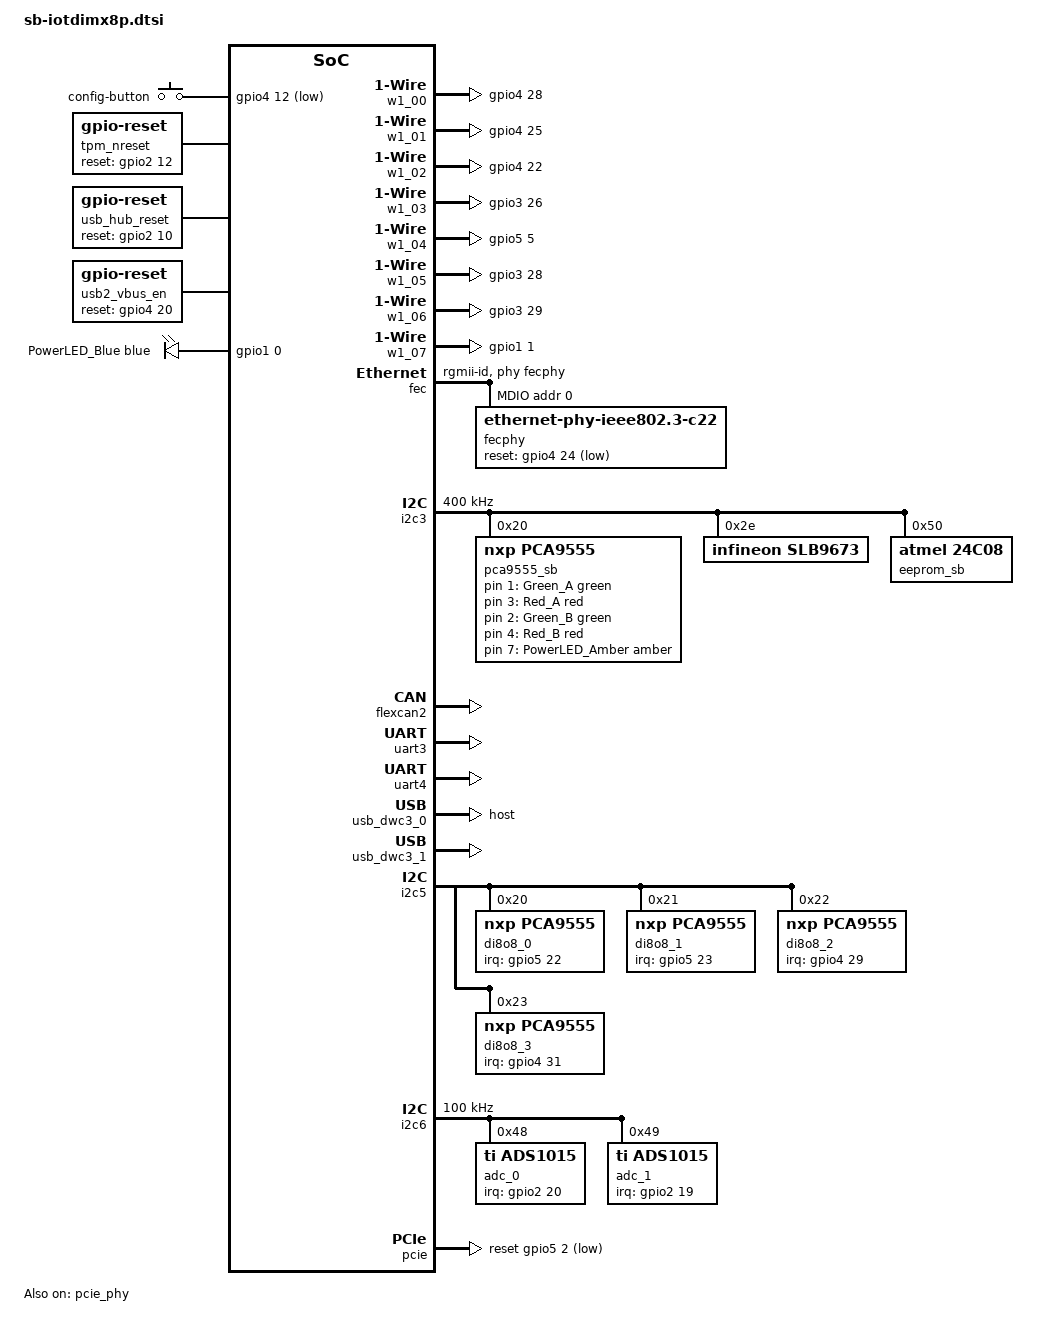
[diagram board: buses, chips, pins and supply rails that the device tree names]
// SPDX-License-Identifier: (GPL-2.0+ OR MIT)
/*
 * Copyright 2024 CompuLab Ltd
 */

#include <dt-bindings/leds/common.h>

#define LED_PATTERN_MORSE_OK		1 270 0 90 1 270 0 90 1 270 0 290 1 270 0 90 1 90 0 90 1 270 0 1260
#define LED_PATTERN_MORSE_SOS		1 90 0 90 1 90 0 90 1 90 0 270 1 270 0 90 1 270 0 90 1 270 0 270 1 90 0 90 1 90 0 90 1 90 0 1260

/ {

	aliases {
		rtc0 = &ab1805_rtc;
		rtc1 = &snvs_rtc;
	};

	chosen {
		stdout-path = &uart2; /* console */
	};

	gpio_keys: gpio-keys {
		compatible = "gpio-keys";
		pinctrl-names = "default";
		pinctrl-0 = <&pinctrl_gpiokeys>;
		autorepeat;

		config-button {
			label = "config-button";
			gpios = <&gpio4 12 GPIO_ACTIVE_LOW>;
			linux,code = <KEY_CONFIG>;
		};
	};

	/***** Reset *****/
	tpm_nreset: tpm-nreset {
		compatible = "gpio-reset";
		pinctrl-names = "default";
		pinctrl-0 = <&pinctrl_tpm_reset>;
		reset-gpios = <&gpio2 12 GPIO_ACTIVE_HIGH>;
		#reset-cells = <0>;
		reset-delay-us = <1000>;
		reset-post-delay-ms = <1>;
		initially-in-reset;
	};

	usb_hub_reset: usb-hub-reset {
		compatible = "gpio-reset";
		pinctrl-names = "default";
		pinctrl-0 = <&pinctrl_usb_hub_reset>;
		reset-gpios = <&gpio2 10 GPIO_ACTIVE_HIGH>;
		#reset-cells = <0>;
		initially-in-reset;
	};

	usb2_vbus_en: usb2-vbus-en {
		compatible = "gpio-reset";
		pinctrl-names = "default";
		pinctrl-0 = <&pinctrl_usb2_vbus_en>;
		reset-gpios = <&gpio4 20 GPIO_ACTIVE_HIGH>;
		#reset-cells = <0>;
		initially-in-reset;
	};
	/***** Reset - End *****/

	user-leds {
		compatible = "gpio-leds";
		pinctrl-names = "default";
		pinctrl-0 = <&pinctrl_user_leds>;

		user-led-a-green {
			label = "Green_A";
			color = <LED_COLOR_ID_GREEN>;
			gpios = <&pca9555_sb 1 GPIO_ACTIVE_HIGH>;
			default-state = "off";
		};
		user-led-a-red {
			label = "Red_A";
			color = <LED_COLOR_ID_RED>;
			gpios = <&pca9555_sb 3 GPIO_ACTIVE_HIGH>;
			default-state = "off";
		};
		user-led-b-green {
			label = "Green_B";
			color = <LED_COLOR_ID_GREEN>;
			gpios = <&pca9555_sb 2 GPIO_ACTIVE_HIGH>;
			default-state = "off";
		};
		user-led-b-red {
			label = "Red_B";
			color = <LED_COLOR_ID_RED>;
			gpios = <&pca9555_sb 4 GPIO_ACTIVE_HIGH>;
			default-state = "off";
		};

		power-led-abmer {
			label = "PowerLED_Amber";
			color = <LED_COLOR_ID_AMBER>;
			gpios = <&pca9555_sb 7 GPIO_ACTIVE_HIGH>;
			linux,default-trigger = "pattern";
		};
		power-led-blue {
			label = "PowerLED_Blue";
			color = <LED_COLOR_ID_BLUE>;
			gpios = <&gpio1 0 GPIO_ACTIVE_HIGH>;
			linux,default-trigger = "pattern";
			led-pattern = <LED_PATTERN_MORSE_OK>;
		};
	};

	/***** 1-wire *****/
	w1_00: w1-00 {
		compatible = "w1-gpio";
		pinctrl-names = "default";
		pinctrl-0 = <&pinctrl_w1_00>;
		gpios = <&gpio4 28 GPIO_ACTIVE_HIGH>;
	};
	w1_01: w1-01 {
		compatible = "w1-gpio";
		pinctrl-names = "default";
		pinctrl-0 = <&pinctrl_w1_01>;
		gpios = <&gpio4 25 GPIO_ACTIVE_HIGH>;
	};
	w1_02: w1-02 {
		compatible = "w1-gpio";
		pinctrl-names = "default";
		pinctrl-0 = <&pinctrl_w1_02>;
		gpios = <&gpio4 22 GPIO_ACTIVE_HIGH>;
	};
	w1_03: w1-03 {
		compatible = "w1-gpio";
		pinctrl-names = "default";
		pinctrl-0 = <&pinctrl_w1_03>;
		gpios = <&gpio3 26 GPIO_ACTIVE_HIGH>;
	};
	w1_04: w1-04 {
		compatible = "w1-gpio";
		pinctrl-names = "default";
		pinctrl-0 = <&pinctrl_w1_04>;
		gpios = <&gpio5 5 GPIO_ACTIVE_HIGH>;
	};
	w1_05: w1-05 {
		compatible = "w1-gpio";
		pinctrl-names = "default";
		pinctrl-0 = <&pinctrl_w1_05>;
		gpios = <&gpio3 28 GPIO_ACTIVE_HIGH>;
	};
	w1_06: w1-06 {
		compatible = "w1-gpio";
		pinctrl-names = "default";
		pinctrl-0 = <&pinctrl_w1_06>;
		gpios = <&gpio3 29 GPIO_ACTIVE_HIGH>;
	};
	w1_07: w1-07 {
		compatible = "w1-gpio";
		pinctrl-names = "default";
		pinctrl-0 = <&pinctrl_w1_07>;
		gpios = <&gpio1 1 GPIO_ACTIVE_HIGH>;
	};
	/***** 1-wire - End *****/
};

&cpu_alert0 {
	temperature = <100000>;
};

&cpu_crit0 {
	temperature = <105000>;
};

&soc_alert0 {
	temperature = <100000>;
};

&soc_crit0 {
	temperature = <105000>;
};

&gpio1 {
	gpio-line-names = "", "1WIRE7", "", "PMIC IRQ", "",
			"", "", "", "", "",
			"ECOS PHY Reset", "", "Heartbeat LED", "", "",
			"LS_IN/VDC_EXT", "", "", "", "",
			"", "", "", "", "",
			"", "", "", "", "";
	status = "okay";
};

&gpio2 {
	gpio-line-names = "", "", "", "", "",
			"", "", "", "", "",
			"USBHUB_RSTn", "", "TPM_RSTn", "", "",
			"", "", "", "", "ADC_INT1",
			"ADC_INT0";
	status = "okay";
};

&gpio3 {
	gpio-line-names = "", "", "", "", "",
			"", "", "", "", "",
			"", "", "", "", "",
			"", "", "", "", "",
			"", "", "", "", "",
			"", "1WIRE3", "PCIE_WAKEn", "1WIRE5", "1WIRE6";
	status = "okay";
};

&gpio4 {
	gpio-line-names = "", "", "", "", "",
			"", "", "", "", "",
			"", "", "SYS_CONFIG", "", "",
			"USB1_SS_SEL", "", "", "", "",
			"", "", "1WIRE2", "", "ENET1_nRST",
			"1WIRE1", "", "", "1WIRE0", "DIO_INT2",
			"DO00", "DIO_INT3";
	status = "okay";
};

&gpio5 {
	gpio-line-names = "DI01", "", "PCIE_PERSTn", "DI00", "DO01",
			"1WIRE4", "", "", "", "",
			"", "", "", "", "",
			"", "", "", "", "",
			"", "", "DIO_INT0", "DIO_INT1", "",
			"", "", "", "", "";
	status = "okay";
};

&gpu_3d {
	status = "disabled";
};

&gpu_2d {
	status = "disabled";
};

&fec {
	pinctrl-names = "default";
	pinctrl-0 = <&pinctrl_fec>, <&pinctrl_fec_phy_reset>;
	phy-mode = "rgmii-id";
	phy-handle = <&fecphy>;
	fsl,magic-packet;
	status = "okay";

	mdio {
		#address-cells = <1>;
		#size-cells = <0>;

		fecphy: fec-phy@0 {
			compatible = "ethernet-phy-ieee802.3-c22";
			reg = <0>;
			reset-gpios = <&gpio4 24 GPIO_ACTIVE_LOW>;
			reset-assert-us = <10000>;
			reset-deassert-us = <80000>;
			eee-broken-1000t;
			realtek,clkout-disable;
		};
	};
};

&i2c3 {
	clock-frequency = <400000>;
	status = "okay";

	pca9555_sb: pca9555-sb@20 {
		compatible = "nxp,pca9555";
		gpio-controller;
		#gpio-cells = <2>;
		reg = <0x20>;
		gpio-line-names =
			"WLAN_PDn", "ULED2_GREEN", "ULED1_GREEN", "ULED2_RED",
			"ULED1_RED", "MODEM_RSTn", "RF_KILLn", "LED_AMBR_CNTL",
			"PWR_EN", "USB_RESET1", "USB_RESET2", "USB_RESET3",
			"B2B_GPIO0", "B2B_GPIO1", "B2B_GPIO2", "B2B_GPIO3";

		pwr_en: pwren_ebifm {
			gpio-hog;
			gpios = <8 GPIO_ACTIVE_HIGH>;
			output-high;
			line-name = "PWR_EN-EBIFM";
		};
	};

	slb9673: slb9673-i2c3@2e {
		resets = <&tpm_nreset>;
		reset-names = "TPM_RSTn";
		compatible = "infineon,slb9673";
		reg = <0x2e>;
	};

	eeprom_sb: eeprom-sb@50 {
		compatible = "atmel,24c08";
		reg = <0x50>;
		pagesize = <16>;
	};
};

/***** I/O TERMINAL BLOCK - Begin *****/
&flexcan2 {
	/* POD1: CAN */
	status = "okay";
};

&uart3 {
	/* POD3: RS232 */
	status = "okay";
};

&uart4 {
	/* POD2: RS-485 */
	status = "okay";
};

/***** I/O TERMINAL BLOCK - End *****/

&usb_dwc3_0 {
	dr_mode = "host";
	status = "okay";
};

&usb_dwc3_1 {
	status = "okay";
};

/***** B2B CONNECTOR - Begin *****/
&ecspi2 {
	status = "disabled";

	spidev2_0: spidev2@0 {
		status = "disabled";
	};
};

&i2c5 {
	status = "okay";

	di8o8_0: pca9555-di8o8-0@20 {
		compatible = "nxp,pca9555";
		pinctrl-names = "default";
		pinctrl-0 = <&pinctrl_di8o8_0>;
		gpio-controller;
		#gpio-cells = <2>;
		interrupt-controller;
		#interrupt-cells = <2>;
		interrupt-parent = <&gpio5>;
		interrupts = <22 IRQ_TYPE_LEVEL_LOW>;
		reg = <0x20>;
		gpio-line-names =
			"IN0",  "IN1",  "IN2",  "IN3",
			"IN4",  "IN5",  "IN6",  "IN7",
			"OUT0", "OUT0", "OUT0", "OUT0",
			"OUT0", "OUT0", "OUT0", "OUT0";
	};

	di8o8_1: di8o8-1@21 {
		compatible = "nxp,pca9555";
		pinctrl-names = "default";
		pinctrl-0 = <&pinctrl_di8o8_1>;
		gpio-controller;
		#gpio-cells = <2>;
		interrupt-controller;
		#interrupt-cells = <2>;
		interrupt-parent = <&gpio5>;
		interrupts = <23 IRQ_TYPE_LEVEL_LOW>;
		reg = <0x21>;
		gpio-line-names =
			"IN0",  "IN1",  "IN2",  "IN3",
			"IN4",  "IN5",  "IN6",  "IN7",
			"OUT0", "OUT0", "OUT0", "OUT0",
			"OUT0", "OUT0", "OUT0", "OUT0";
	};

	di8o8_2: di8o8-2@22 {
		compatible = "nxp,pca9555";
		pinctrl-names = "default";
		pinctrl-0 = <&pinctrl_di8o8_2>;
		gpio-controller;
		#gpio-cells = <2>;
		interrupt-controller;
		#interrupt-cells = <2>;
		interrupt-parent = <&gpio4>;
		interrupts = <29 IRQ_TYPE_LEVEL_LOW>;
		reg = <0x22>;
		gpio-line-names =
			"IN0",  "IN1",  "IN2",  "IN3",
			"IN4",  "IN5",  "IN6",  "IN7",
			"OUT0", "OUT0", "OUT0", "OUT0",
			"OUT0", "OUT0", "OUT0", "OUT0";
	};

	di8o8_3: di8o8-3@23 {
		compatible = "nxp,pca9555";
		pinctrl-names = "default";
		pinctrl-0 = <&pinctrl_di8o8_3>;
		gpio-controller;
		#gpio-cells = <2>;
		interrupt-controller;
		#interrupt-cells = <2>;
		interrupt-parent = <&gpio4>;
		interrupts = <31 IRQ_TYPE_LEVEL_LOW>;
		reg = <0x23>;
		gpio-line-names =
			"IN0",  "IN1",  "IN2",  "IN3",
			"IN4",  "IN5",  "IN6",  "IN7",
			"OUT0", "OUT0", "OUT0", "OUT0",
			"OUT0", "OUT0", "OUT0", "OUT0";
	};
};

&i2c6 {
	clock-frequency = <100000>;
	status = "okay";

	adc_0: adc-0@48 {
		compatible = "ti,ads1015";
		pinctrl-names = "default";
		pinctrl-0 = <&pinctrl_adc_0>;
		interrupt-parent = <&gpio2>;
		interrupts = <20 IRQ_TYPE_LEVEL_LOW>;
		reg = <0x48>;
		#address-cells = <1>;
		#size-cells = <0>;

		/* Voltage over AIN0 and GND */
		channel@4 {
			reg = <4>;
			ti,datarate = <4>;
			ti,gain = <2>;
		};

		/* Voltage over AIN1 and GND */
		channel@5 {
			reg = <5>;
			ti,datarate = <4>;
			ti,gain = <2>;
		};

		/*Voltage over AIN2 and GND */
		channel@6 {
			reg = <6>;
			ti,datarate = <4>;
			ti,gain = <2>;
		};

		/* Voltage over AIN3 and GND */
		channel@7 {
			reg = <7>;
			ti,datarate = <4>;
			ti,gain = <2>;
		};
	};

	adc_1: adc-1@49 {
		compatible = "ti,ads1015";
		pinctrl-names = "default";
		pinctrl-0 = <&pinctrl_adc_1>;
		interrupt-parent = <&gpio2>;
		interrupts = <19 IRQ_TYPE_LEVEL_LOW>;
		reg = <0x49>;
		#address-cells = <1>;
		#size-cells = <0>;

		/* Voltage over AIN0 and GND */
		channel@4 {
			reg = <4>;
			ti,datarate = <4>;
			ti,gain = <2>;
		};

		/* Voltage over AIN1 and GND */
		channel@5 {
			reg = <5>;
			ti,datarate = <4>;
			ti,gain = <2>;
		};

		/*Voltage over AIN2 and GND */
		channel@6 {
			reg = <6>;
			ti,datarate = <4>;
			ti,gain = <2>;
		};

		/* Voltage over AIN3 and GND */
		channel@7 {
			reg = <7>;
			ti,datarate = <4>;
			ti,gain = <2>;
		};
	};
};

&pcie {
	pinctrl-names = "default";
	pinctrl-0 = <&pinctrl_pcie>;
	reset-gpio = <&gpio5 2 GPIO_ACTIVE_LOW>;
	status = "okay";
};

&pcie_phy {
	status = "okay";
};
/***** B2B CONNECTOR - End *****/

&iomuxc {
	pinctrl-names = "default";
	pinctrl-0 = <&pinctrl_di2o2>;

	pinctrl_fec_phy_reset: fecphyrstgrp {
		fsl,pins = <
			MX8MP_IOMUXC_SAI2_TXFS__GPIO4_IO24			0x10
		>;
	};

	pinctrl_di2o2: di2o2grp {
		fsl,pins = <
			MX8MP_IOMUXC_SPDIF_TX__GPIO5_IO03			0x00  /* DI2O2 IN0 */
			MX8MP_IOMUXC_SAI3_TXC__GPIO5_IO00			0x00  /* DI2O2 IN1 */
			MX8MP_IOMUXC_SAI3_RXD__GPIO4_IO30			0x100 /* DI2O2 OUT0 */
			MX8MP_IOMUXC_SPDIF_RX__GPIO5_IO04			0x100 /* DI2O2 OUT1 */
		>;
	};

	pinctrl_gpiokeys: gpiokeysgrp {
		fsl,pins = <
			MX8MP_IOMUXC_SAI1_TXD0__GPIO4_IO12			0x140 /* P5-18 */
		>;
	};

	pinctrl_adc_0: adc_0grp {
		fsl,pins = <
			MX8MP_IOMUXC_SD2_WP__GPIO2_IO20				0x140
		>;
	};
	pinctrl_adc_1: adc_1grp {
		fsl,pins = <
			MX8MP_IOMUXC_SD2_RESET_B__GPIO2_IO19			0x140
		>;
	};

	pinctrl_di8o8_0: di8o8_0grp {
		fsl,pins = <
			MX8MP_IOMUXC_UART1_RXD__GPIO5_IO22			0x140
		>;
	};
	pinctrl_di8o8_1: di8o8_1grp {
		fsl,pins = <
			MX8MP_IOMUXC_UART1_TXD__GPIO5_IO23			0x140
		>;
	};
	pinctrl_di8o8_2: di8o8_2grp {
		fsl,pins = <
			MX8MP_IOMUXC_SAI3_RXC__GPIO4_IO29			0x140
		>;
	};
	pinctrl_di8o8_3: di8o8_3grp {
		fsl,pins = <
			MX8MP_IOMUXC_SAI3_TXFS__GPIO4_IO31			0x140
		>;
	};

	pinctrl_pcie: pciegrp {
		fsl,pins = <
			MX8MP_IOMUXC_I2C4_SCL__PCIE_CLKREQ_B			0x60 /* open drain, pull up */
			MX8MP_IOMUXC_HDMI_DDC_SDA__GPIO3_IO27			0x1c4 /* PCIE_WAKEn */
			MX8MP_IOMUXC_SAI3_MCLK__GPIO5_IO02			0x40 /* PCIE_PERSTn */
		>;
	};

	pinctrl_tpm_reset: tpmrstgrp {
		fsl,pins = <
			MX8MP_IOMUXC_SD2_CD_B__GPIO2_IO12			0x110
		>;
	};

	pinctrl_usb_hub_reset: usbhubrstgrp {
		fsl,pins = <
			MX8MP_IOMUXC_SD1_RESET_B__GPIO2_IO10			0x110
		>;
	};

	pinctrl_usb2_vbus_en: usb2vbusengrp {
		fsl,pins = <
			MX8MP_IOMUXC_SAI1_MCLK__GPIO4_IO20			0x154
		>;
	};

	pinctrl_user_leds: userledsgrp {
		fsl,pins = <
			MX8MP_IOMUXC_GPIO1_IO00__GPIO1_IO00			0x110
		>;
	};

	pinctrl_w1_00: w1grp-00 {
		fsl,pins = <
			MX8MP_IOMUXC_SAI3_RXFS__GPIO4_IO28			0x140 /* J5-B19 */
		>;
	};
	pinctrl_w1_01: w1grp-01 {
		fsl,pins = <
			MX8MP_IOMUXC_SAI2_TXC__GPIO4_IO25			0x140 /* J5-B18 */
		>;
	};
	pinctrl_w1_02: w1grp-02 {
		fsl,pins = <
			MX8MP_IOMUXC_SAI2_RXC__GPIO4_IO22			0x140 /* J5-B17 */
		>;
	};
	pinctrl_w1_03: w1grp-03 {
		fsl,pins = <
			MX8MP_IOMUXC_HDMI_DDC_SCL__GPIO3_IO26			0x140 /* J5-B16 */
		>;
	};
	pinctrl_w1_04: w1grp-04 {
		fsl,pins = <
			MX8MP_IOMUXC_SPDIF_EXT_CLK__GPIO5_IO05			0x140 /* J5-B15 */
		>;
	};
	pinctrl_w1_05: w1grp-05 {
		fsl,pins = <
			MX8MP_IOMUXC_HDMI_CEC__GPIO3_IO28			0x140 /* J5-B14 */
		>;
	};
	pinctrl_w1_06: w1grp-06 {
		fsl,pins = <
			MX8MP_IOMUXC_HDMI_HPD__GPIO3_IO29			0x140 /* J5-B13 */
		>;
	};
	pinctrl_w1_07: w1grp-07 {
		fsl,pins = <
			MX8MP_IOMUXC_GPIO1_IO01__GPIO1_IO01			0x140 /* J5-B12 */
		>;
	};
};
